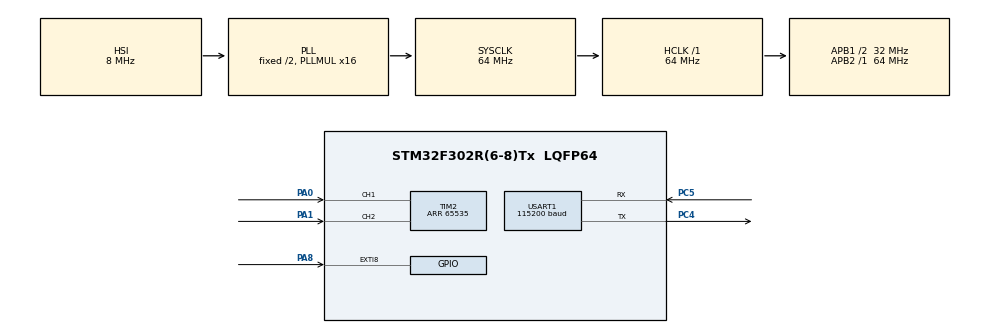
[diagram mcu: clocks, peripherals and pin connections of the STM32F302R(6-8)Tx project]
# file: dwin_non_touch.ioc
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Mcu.Family=STM32F3
Mcu.Name=STM32F302R(6-8)Tx
Mcu.Package=LQFP64
NVIC.EXTI9_5_IRQn=true\:0\:0\:true\:false\:true\:true\:true\:true
NVIC.PriorityGroup=NVIC_PRIORITYGROUP_4
NVIC.TIM2_IRQn=true\:1\:0\:true\:false\:true\:true\:true\:true
NVIC.USART1_IRQn=true\:0\:0\:true\:false\:true\:true\:true\:true
PA0.Signal=S_TIM2_CH1_ETR
PA1.Signal=S_TIM2_CH2
PA13.Mode=Serial_Wire
PA13.Signal=SYS_JTMS-SWDIO
PA14.Mode=Serial_Wire
PA14.Signal=SYS_JTCK-SWCLK
PA8.Signal=GPXTI8
PC4.Mode=Asynchronous
PC4.Signal=USART1_TX
PC5.Mode=Asynchronous
PC5.Signal=USART1_RX
PF0-OSC_IN.Mode=HSE-External-Oscillator
PF0-OSC_IN.Signal=RCC_OSC_IN
PF1-OSC_OUT.Mode=HSE-External-Oscillator
PF1-OSC_OUT.Signal=RCC_OSC_OUT
ProjectManager.HeapSize=0x200
ProjectManager.StackSize=0x400
ProjectManager.TargetToolchain=STM32CubeIDE
RCC.AHBFreq_Value=64000000
RCC.APB1CLKDivider=RCC_HCLK_DIV2
RCC.APB1Freq_Value=32000000
RCC.APB1TimFreq_Value=64000000
RCC.APB2Freq_Value=64000000
RCC.APB2TimFreq_Value=64000000
RCC.CortexFreq_Value=64000000
RCC.HCLKFreq_Value=64000000
RCC.HSE_VALUE=8000000
RCC.HSI_VALUE=8000000
RCC.PLLM=8
RCC.PLLMUL=RCC_PLL_MUL16
RCC.PLLN=336
RCC.PLLP=RCC_PLLP_DIV4
RCC.PLLQ=7
RCC.RCC_PLLsource_Clock_Source_FROM_HSE=RCC_HSE_PREDIV_DIV2
RCC.SYSCLKFreq_VALUE=64000000
RCC.SYSCLKSourceVirtual=RCC_SYSCLKSOURCE_PLLCLK
RCC.USBFreq_Value=64000000
SH.S_TIM2_CH1_ETR.0=TIM2_CH1,Encoder_Interface
SH.S_TIM2_CH2.0=TIM2_CH2,Encoder_Interface
TIM2.EncoderMode=TIM_ENCODERMODE_TI12
TIM2.IC1Polarity=TIM_ICPOLARITY_RISING
TIM2.IC2Polarity=TIM_ICPOLARITY_RISING
TIM2.Period=65535
USART1.BaudRate=115200
USART1.VirtualMode-Asynchronous=VM_ASYNC
board=NUCLEO-F302R8

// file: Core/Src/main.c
/* USER CODE BEGIN Header */
/**
  ******************************************************************************
  * @file           : main.c
  * @brief          : Main program body
  ******************************************************************************
  * @attention
  *
  * Copyright (c) 2024 STMicroelectronics.
  * All rights reserved.
  *
  * This software is licensed under terms that can be found in the LICENSE file
  * in the root directory of this software component.
  * If no LICENSE file comes with this software, it is provided AS-IS.
  *
  ******************************************************************************
  */
/* USER CODE END Header */
#include "main.h"

TIM_HandleTypeDef htim2;

UART_HandleTypeDef huart1;

void SystemClock_Config(void);
static void MX_GPIO_Init(void);
static void MX_TIM2_Init(void);
static void MX_USART1_UART_Init(void);

/* USER CODE BEGIN 0 */
uint32_t counter=0;
int16_t count=0;
uint8_t button_press=0;
int16_t reading=0;
uint8_t led_state1=1;
uint8_t led_state2=1;

//uint8_t page =0;
//uint8_t first =1;
//uint8_t led_page=2;
//uint8_t adc_page=3;

typedef enum{
	first_page,
	led_page,
	adc_page,
}page_state;
page_state current_page = first_page;

uint8_t led_s[] = {0x5a,0xa5,0x17,0x82,0x10,0x00,0x00,0x06,0x00,0x01,0x00,0x01,0x00,0x4d,0x00,0x59,0x00,0xba,0x00,0xbd,0x00,0x4d,0x00,0x59,0xff,0x00};

uint8_t led_us[]= {0x5a,0xa5,0x17,0x82,0x10,0x00,0x00,0x06,0x00,0x00,0x00,0x01,0x00,0x4d,0x00,0x59,0x00,0xba,0x00,0xbd,0x00,0x4d,0x00,0x59,0xff,0x00};

uint8_t adc_s[] = {0x5a,0xa5,0x17,0x82,0x10,0x10,0x00,0x06,0x00,0x01,0x00,0x01,0x01,0x12,0x00,0x53,0x01,0x78,0x00,0xb8,0x01,0x12,0x00,0x53,0xff,0x00};

uint8_t adc_us[] = {0x5a,0xa5,0x17,0x82,0x10,0x10,0x00,0x06,0x00,0x00,0x00,0x01,0x01,0x12,0x00,0x53,0x01,0x78,0x00,0xb8,0x01,0x12,0x00,0x53,0xff,0x00};

uint8_t led1_s[] = {0x5a,0xa5,0x17,0x82,0x10,0x20,0x00,0x06,0x00,0x01,0x00,0x03,0x00,0x52,0x00,0x5c,0x00,0xb6,0x00,0xb6,0x00,0x52,0x00,0x5c,0xff,0x00};

uint8_t led1_us[]= {0x5a,0xa5,0x17,0x82,0x10,0x20,0x00,0x06,0x00,0x00,0x00,0x03,0x00,0x52,0x00,0x5c,0x00,0xb6,0x00,0xb6,0x00,0x52,0x00,0x5c,0xff,0x00};

uint8_t led2_s[] = {0x5a,0xa5,0x17,0x82,0x10,0x30,0x00,0x06,0x00,0x01,0x00,0x03,0x01,0x11,0x00,0x5b,0x01,0x75,0x00,0xb5,0x01,0x11,0x00,0x5b,0xff,0x00};

uint8_t led2_us[] = {0x5a,0xa5,0x17,0x82,0x10,0x30,0x00,0x06,0x00,0x00,0x00,0x03,0x01,0x11,0x00,0x5b,0x01,0x75,0x00,0xb5,0x01,0x11,0x00,0x5b,0xff,0x00};

uint8_t led1_on[]=  {0x5a,0xa5,0x17,0x82,0x10,0x50,0x00,0x06,0x00,0x01,0x00,0x03,0x00,0x6b,0x00,0xb9,0x00,0x9e,0x00,0xcf,0x00,0x6b,0x00,0xb9,0xff,0x00};

uint8_t led1_off[]= {0x5a,0xa5,0x17,0x82,0x10,0x50,0x00,0x06,0x00,0x00,0x00,0x03,0x00,0x6b,0x00,0xb9,0x00,0x9e,0x00,0xcf,0x00,0x6b,0x00,0xb9,0xff,0x00};

uint8_t led2_on[]=  {0x5a,0xa5,0x17,0x82,0x10,0x60,0x00,0x06,0x00,0x01,0x00,0x03,0x01,0x2a,0x00,0xb8,0x01,0x61,0x00,0xd3,0x01,0x2a,0x00,0xb8,0xff,0x00};

uint8_t led2_off[]= {0x5a,0xa5,0x17,0x82,0x10,0x60,0x00,0x06,0x00,0x00,0x00,0x03,0x01,0x2a,0x00,0xb8,0x01,0x61,0x00,0xd3,0x01,0x2a,0x00,0xb8,0xff,0x00};

uint8_t led_back_s[]= {0x5a,0xa5,0x17,0x82,0x10,0x40,0x00,0x06,0x00,0x01,0x00,0x03,0x00,0x02,0x00,0xe4,0x00,0x58,0x01,0x10,0x00,0x02,0x00,0xe4,0xff,0x00};

uint8_t led_back_us[]= {0x5a,0xa5,0x17,0x82,0x10,0x40,0x00,0x06,0x00,0x00,0x00,0x03,0x00,0x02,0x00,0xe4,0x00,0x58,0x01,0x10,0x00,0x02,0x00,0xe4,0xff,0x00};

uint8_t adc_back_s[]= {0x5a,0xa5,0x17,0x82,0x10,0x70,0x00,0x06,0x00,0x01,0x00,0x05,0x00,0x02,0x00,0xe1,0x00,0x5a,0x01,0x10,0x00,0x02,0x00,0xe1,0xff,0x00};

uint8_t adc_back_us[]= {0x5a,0xa5,0x17,0x82,0x10,0x70,0x00,0x06,0x00,0x00,0x00,0x05,0x00,0x02,0x00,0xe1,0x00,0x5a,0x01,0x10,0x00,0x02,0x00,0xe1,0xff,0x00};

uint8_t data_send_command_adc[]= {0x5a,0xa5,0x05,0x82,0x50,0x00,0x00,0x01};

uint8_t screen_change_command[]={0x5A, 0xA5, 0x07, 0x82, 0x00, 0x84, 0x5A, 0x01, 0x00, 0x00};

void sendCommandToDwin(uint8_t *cmd,uint16_t length)
{
//	  while(HAL_UART_GetState(&huart1)!=HAL_UART_STATE_READY);
//	HAL_UART_Transmit_DMA(&huart1, cmd, length);
	HAL_UART_Transmit_IT(&huart1, cmd, length);
//	HAL_UART_Transmit(&huart1, cmd, length, HAL_MAX_DELAY);
	HAL_Delay(100);
//	memset(rxbuffer,0,9);

//	__HAL_UART_ENABLE_IT(&huart1, UART_IT_RXNE);
////	HAL_Delay(20);
//	HAL_UART_Receive_IT(&huart1, rxbuffer, 10);

//	HAL_UART_Transmit_DMA(&huart1, cmd, length);

}

void page_change(uint8_t page_no)
{
	screen_change_command[9]=page_no;

		sendCommandToDwin(screen_change_command,sizeof(screen_change_command));
}

void led_select()
{
	sendCommandToDwin(led_s,sizeof(led_s));

}

void led_unselect()
{
	sendCommandToDwin(led_us,sizeof(led_us));

}

void adc_select()
{
	sendCommandToDwin(adc_s,sizeof(adc_s));

}

void adc_unselect()
{
	sendCommandToDwin(adc_us,sizeof(adc_us));

}

void led1_select()
{
sendCommandToDwin(led1_s,sizeof(led1_s));

}

void led1_unselect()
{
sendCommandToDwin(led1_us,sizeof(led1_us));

}

void led2_select()
{
sendCommandToDwin(led2_s,sizeof(led2_s));

}

void led2_unselect()
{
sendCommandToDwin(led2_us,sizeof(led2_us));

}

void led1_ON()
{
sendCommandToDwin(led1_on,sizeof(led1_on));
}

void led1_OFF()
{
sendCommandToDwin(led1_off,sizeof(led1_off));
}

void led2_ON()
{
sendCommandToDwin(led2_on,sizeof(led2_on));
}

void led2_OFF()
{
sendCommandToDwin(led2_off,sizeof(led2_off));
}

void led_back_select()
{
sendCommandToDwin(led_back_s,sizeof(led_back_s));
}

void led_back_unselect()
{
sendCommandToDwin(led_back_us,sizeof(led_back_us));
}

void adc_back_select()
{
sendCommandToDwin(adc_back_s,sizeof(adc_back_s));
}

void adc_back_unselect()
{
sendCommandToDwin(adc_back_us,sizeof(adc_back_us));
}

void display_value(uint8_t arr[],uint16_t value)
{
	arr[7]=(uint8_t)value;
	sendCommandToDwin(data_send_command_adc,sizeof(data_send_command_adc));
}

//void adc_value()
//{
//	scale_adc_val=(adc_val*100)/4095;
//
//	show_value[7]=scale_adc_val;
//
//	if(HAL_GetTick()-tim2>50)
//	{
//	sendCommandToDwin(data_send_command_adc,sizeof(data_send_command_adc));
//	tim2=HAL_GetTick();
//	}
//}

void HAL_TIM_IC_CaptureCallback(TIM_HandleTypeDef *htim)
{
	counter=__HAL_TIM_GET_COUNTER(htim);
	count=(int16_t)counter;

	count=count/4;

//	if(count<0)
//	{
//		count=0;
//	}
}

void ResetTimerCounter(TIM_HandleTypeDef *htim,uint16_t value)
{
    // Reset the timer counter to 0
    __HAL_TIM_SET_COUNTER(&htim2, value);
}

void HAL_GPIO_EXTI_Callback(uint16_t GPIO_Pin)
{
	if(GPIO_Pin==GPIO_PIN_8)
	{
	button_press=1;
	}
}

void handle_counter(uint8_t value)
{
	if(count>=value)
	{
		count=value-1;
		ResetTimerCounter(&htim2,count*4);
	}
	else if(count<0)
	{
		count=0;
		ResetTimerCounter(&htim2,count*4);
	}
}

void input_reading()
{
	if(current_page==first_page)
	{
		handle_counter(2);
		switch(count)
		{
		case 0:
			led_select();
			adc_unselect();
			break;
		case 1:
			adc_select();
			led_unselect();
			break;
		}
	}
	else if(current_page==led_page)
	{
		handle_counter(3);
		switch(count)
		{
		case 0:
			led1_select();
			led2_unselect();
			led_back_unselect();
			break;
		case 1:
			led1_unselect();
			led2_select();
			led_back_unselect();
			break;
		case 2:
			led1_unselect();
			led2_unselect();
			led_back_select();
			break;
		}
	}
}

void handle_page_switch()
{
	if(button_press)
	{
		switch(current_page)
		{
		case first_page:
			if(count==0)
			{
				page_change(2);
				ResetTimerCounter(&htim2,0);
				count=0;
				current_page=led_page;
			}
			else if(count==1)
			{
				page_change(4);
				ResetTimerCounter(&htim2,0);
				count=0;
				current_page=adc_page;
			}
			break;
		case led_page:
			if(count==0)
			{
				led_state1=!led_state1;
				if(led_state1)
				{
					led1_OFF();

				}
				else
				{
					led1_ON();

				}
			}
			else if(count==1)
			{
				led_state2=!led_state2;
				if(led_state2)
				{
					led2_OFF();

				}
				else
				{
					led2_ON();

				}
			}
			else if(count==2)
			{
				page_change(0);
				ResetTimerCounter(&htim2,0);
				count=0;
				current_page = first_page;
			}
			break;
		}
		button_press=0;
	}
}
/* USER CODE END 0 */

int main(void)
{

  /* MCU Configuration--------------------------------------------------------*/

  /* Reset of all peripherals, Initializes the Flash interface and the Systick. */
  HAL_Init();

  /* Configure the system clock */
  SystemClock_Config();

  /* Initialize all configured peripherals */
  MX_GPIO_Init();
  MX_TIM2_Init();
  MX_USART1_UART_Init();
  /* USER CODE BEGIN 2 */
  HAL_TIM_Encoder_Start_IT(&htim2,TIM_CHANNEL_ALL);
  page_change(0);
//  page=first;

  /* USER CODE END 2 */

  /* Infinite loop */
  /* USER CODE BEGIN WHILE */
  while (1)
  {

		 input_reading();

		 handle_page_switch();
    /* USER CODE END WHILE */

  }
}

void SystemClock_Config(void)
{
  RCC_OscInitTypeDef RCC_OscInitStruct = {0};
  RCC_ClkInitTypeDef RCC_ClkInitStruct = {0};
  RCC_PeriphCLKInitTypeDef PeriphClkInit = {0};

  /** Initializes the RCC Oscillators according to the specified parameters
  * in the RCC_OscInitTypeDef structure.
  */
  RCC_OscInitStruct.OscillatorType = RCC_OSCILLATORTYPE_HSI;
  RCC_OscInitStruct.HSIState = RCC_HSI_ON;
  RCC_OscInitStruct.HSICalibrationValue = RCC_HSICALIBRATION_DEFAULT;
  RCC_OscInitStruct.PLL.PLLState = RCC_PLL_ON;
  RCC_OscInitStruct.PLL.PLLSource = RCC_PLLSOURCE_HSI;
  RCC_OscInitStruct.PLL.PLLMUL = RCC_PLL_MUL16;
  if (HAL_RCC_OscConfig(&RCC_OscInitStruct) != HAL_OK)
  {
    Error_Handler();
  }

  /** Initializes the CPU, AHB and APB buses clocks
  */
  RCC_ClkInitStruct.ClockType = RCC_CLOCKTYPE_HCLK|RCC_CLOCKTYPE_SYSCLK
                              |RCC_CLOCKTYPE_PCLK1|RCC_CLOCKTYPE_PCLK2;
  RCC_ClkInitStruct.SYSCLKSource = RCC_SYSCLKSOURCE_PLLCLK;
  RCC_ClkInitStruct.AHBCLKDivider = RCC_SYSCLK_DIV1;
  RCC_ClkInitStruct.APB1CLKDivider = RCC_HCLK_DIV2;
  RCC_ClkInitStruct.APB2CLKDivider = RCC_HCLK_DIV1;

  if (HAL_RCC_ClockConfig(&RCC_ClkInitStruct, FLASH_LATENCY_2) != HAL_OK)
  {
    Error_Handler();
  }
  PeriphClkInit.PeriphClockSelection = RCC_PERIPHCLK_USART1;
  PeriphClkInit.Usart1ClockSelection = RCC_USART1CLKSOURCE_PCLK1;
  if (HAL_RCCEx_PeriphCLKConfig(&PeriphClkInit) != HAL_OK)
  {
    Error_Handler();
  }
}

static void MX_TIM2_Init(void)
{

  TIM_Encoder_InitTypeDef sConfig = {0};
  TIM_MasterConfigTypeDef sMasterConfig = {0};

  htim2.Instance = TIM2;
  htim2.Init.Prescaler = 0;
  htim2.Init.CounterMode = TIM_COUNTERMODE_UP;
  htim2.Init.Period = 65535;
  htim2.Init.ClockDivision = TIM_CLOCKDIVISION_DIV1;
  htim2.Init.AutoReloadPreload = TIM_AUTORELOAD_PRELOAD_DISABLE;
  sConfig.EncoderMode = TIM_ENCODERMODE_TI12;
  sConfig.IC1Polarity = TIM_ICPOLARITY_RISING;
  sConfig.IC1Selection = TIM_ICSELECTION_DIRECTTI;
  sConfig.IC1Prescaler = TIM_ICPSC_DIV1;
  sConfig.IC1Filter = 0;
  sConfig.IC2Polarity = TIM_ICPOLARITY_RISING;
  sConfig.IC2Selection = TIM_ICSELECTION_DIRECTTI;
  sConfig.IC2Prescaler = TIM_ICPSC_DIV1;
  sConfig.IC2Filter = 0;
  if (HAL_TIM_Encoder_Init(&htim2, &sConfig) != HAL_OK)
  {
    Error_Handler();
  }
  sMasterConfig.MasterOutputTrigger = TIM_TRGO_RESET;
  sMasterConfig.MasterSlaveMode = TIM_MASTERSLAVEMODE_DISABLE;
  if (HAL_TIMEx_MasterConfigSynchronization(&htim2, &sMasterConfig) != HAL_OK)
  {
    Error_Handler();
  }

}

static void MX_USART1_UART_Init(void)
{

  huart1.Instance = USART1;
  huart1.Init.BaudRate = 115200;
  huart1.Init.WordLength = UART_WORDLENGTH_8B;
  huart1.Init.StopBits = UART_STOPBITS_1;
  huart1.Init.Parity = UART_PARITY_NONE;
  huart1.Init.Mode = UART_MODE_TX_RX;
  huart1.Init.HwFlowCtl = UART_HWCONTROL_NONE;
  huart1.Init.OverSampling = UART_OVERSAMPLING_16;
  huart1.Init.OneBitSampling = UART_ONE_BIT_SAMPLE_DISABLE;
  huart1.AdvancedInit.AdvFeatureInit = UART_ADVFEATURE_NO_INIT;
  if (HAL_UART_Init(&huart1) != HAL_OK)
  {
    Error_Handler();
  }

}

static void MX_GPIO_Init(void)
{
  GPIO_InitTypeDef GPIO_InitStruct = {0};

  /* GPIO Ports Clock Enable */
  __HAL_RCC_GPIOF_CLK_ENABLE();
  __HAL_RCC_GPIOA_CLK_ENABLE();
  __HAL_RCC_GPIOC_CLK_ENABLE();

  /*Configure GPIO pin : PA8 */
  GPIO_InitStruct.Pin = GPIO_PIN_8;
  GPIO_InitStruct.Mode = GPIO_MODE_IT_RISING;
  GPIO_InitStruct.Pull = GPIO_NOPULL;
  HAL_GPIO_Init(GPIOA, &GPIO_InitStruct);

  /* EXTI interrupt init*/
  HAL_NVIC_SetPriority(EXTI9_5_IRQn, 0, 0);
  HAL_NVIC_EnableIRQ(EXTI9_5_IRQn);

}

void Error_Handler(void)
{
  __disable_irq();
  while (1)
  {
  }
}
